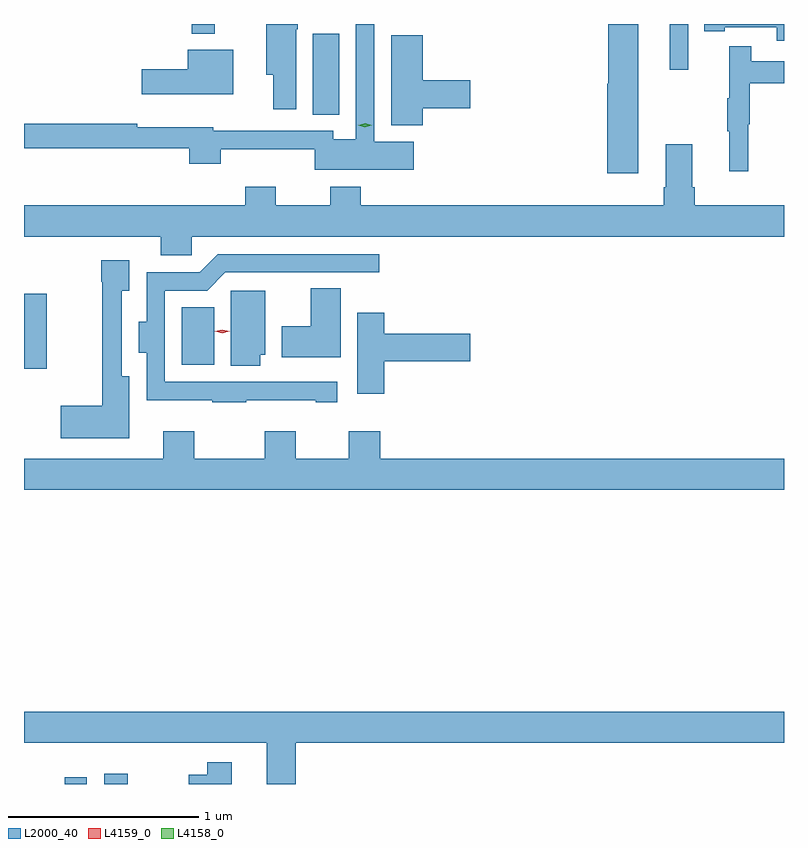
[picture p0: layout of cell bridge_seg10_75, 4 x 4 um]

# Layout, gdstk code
import gdstk
lib = gdstk.Library(unit=1e-6, precision=1e-09)
def R(c, l, rs):  # rectangles x0, y0, x1, y1
    for r in rs: c.add(gdstk.rectangle(r[:2], r[2:], *l))
def P(c, l, *ps):  # polygons
    for p in ps: c.add(gdstk.Polygon(p, *l))
L2000_40 = (2000, 40)
L4158_0 = (4158, 0)
L4159_0 = (4159, 0)

bridge_seg10_75 = lib.new_cell('bridge_seg10_75')
R(bridge_seg10_75, L2000_40, [(681.304,1293.439,681.42,1293.475), (681.512,1293.439,681.634,1293.493), (681.089,1295.625,681.208,1296.019), (681.92,1295.645,682.09,1295.947), (682.61,1296.961,682.747,1297.387), (684.488,1297.197,684.585,1297.439), (681.973,1297.389,682.094,1297.439)])
P(bridge_seg10_75, L2000_40, [(683.14,1296.82),(682.932,1296.82),(682.932,1297.439),(682.836,1297.439),(682.836,1296.832),(682.716,1296.832),(682.716,1296.876),(682.304,1296.876),(682.304,1296.878),(682.086,1296.878),(682.086,1296.895),(681.686,1296.895),(681.686,1296.914),(681.089,1296.914),(681.089,1296.786),(681.959,1296.786),(681.959,1296.704),(682.124,1296.704),(682.124,1296.779),(682.62,1296.779),(682.62,1296.671),(683.14,1296.671)],
  [(684.322,1297.439),(684.164,1297.439),(684.164,1297.125),(684.158,1297.125),(684.158,1296.654),(684.322,1296.654)],
  [(685.089,1297.439),(684.67,1297.439),(684.67,1297.402),(684.778,1297.402),(684.778,1297.422),(685.05,1297.422),(685.05,1297.35),(685.089,1297.35)],
  [(682.522,1297.412),(682.53,1297.412),(682.53,1297.439),(682.364,1297.439),(682.364,1297.172),(682.4,1297.172),(682.4,1296.99),(682.522,1296.99)],
  [(683.188,1296.995),(683.437,1296.995),(683.437,1297.142),(683.188,1297.142),(683.188,1297.379),(683.021,1297.379),(683.021,1296.905),(683.188,1296.905)],
  [(684.902,1296.912),(684.91,1296.912),(684.91,1297.126),(685.089,1297.126),(685.089,1297.242),(684.917,1297.242),(684.917,1297.321),(684.8,1297.321),(684.8,1297.049),(684.789,1297.049),(684.789,1296.875),(684.8,1296.875),(684.8,1296.663),(684.902,1296.663)],
  [(682.189,1297.303),(681.95,1297.303),(681.95,1297.2),(681.708,1297.2),(681.708,1297.07),(682.189,1297.07)],
  [(681.089,1296.32),(681.809,1296.32),(681.809,1296.222),(681.972,1296.222),(681.972,1296.32),(685.089,1296.32),(685.089,1296.484),(684.62,1296.484),(684.62,1296.58),(684.607,1296.58),(684.607,1296.805),(684.467,1296.805),(684.467,1296.58),(684.455,1296.58),(684.455,1296.484),(682.862,1296.484),(682.862,1296.583),(682.702,1296.583),(682.702,1296.484),(682.413,1296.484),(682.413,1296.583),(682.253,1296.583),(682.253,1296.484),(681.089,1296.484)],
  [(682.259,1295.459),(682.625,1295.459),(682.625,1295.448),(682.738,1295.448),(682.738,1295.556),(681.831,1295.556),(681.831,1296.036),(682.053,1296.036),(682.149,1296.132),(682.96,1296.132),(682.96,1296.228),(682.11,1296.228),(682.014,1296.132),(681.734,1296.132),(681.734,1295.872),(681.692,1295.872),(681.692,1295.708),(681.735,1295.708),(681.735,1295.459),(682.081,1295.459),(682.081,1295.448),(682.259,1295.448)],
  [(681.643,1295.584),(681.603,1295.584),(681.603,1296.035),(681.643,1296.035),(681.643,1296.196),(681.495,1296.196),(681.495,1296.083),(681.502,1296.083),(681.502,1295.429),(681.282,1295.429),(681.282,1295.258),(681.643,1295.258)],
  [(682.756,1296.047),(682.598,1296.047),(682.598,1295.848),(682.445,1295.848),(682.445,1295.684),(682.756,1295.684)],
  [(682.333,1295.697),(682.36,1295.697),(682.36,1296.036),(682.178,1296.036),(682.178,1295.641),(682.333,1295.641)],
  [(682.985,1295.663),(683.437,1295.663),(683.437,1295.81),(682.985,1295.81),(682.985,1295.92),(682.844,1295.92),(682.844,1295.493),(682.985,1295.493)],
  [(685.089,1295.152),(682.963,1295.152),(682.963,1295.296),(682.799,1295.296),(682.799,1295.152),(682.519,1295.152),(682.519,1295.296),(682.355,1295.296),(682.355,1295.152),(681.985,1295.152),(681.985,1295.296),(681.821,1295.296),(681.821,1295.152),(681.089,1295.152),(681.089,1294.988),(685.089,1294.988)],
  [(682.52,1293.656),(685.089,1293.656),(685.089,1293.82),(681.089,1293.82),(681.089,1293.656),(682.367,1293.656),(682.367,1293.439),(682.52,1293.439)],
  [(682.183,1293.553),(682.054,1293.553),(682.054,1293.487),(681.956,1293.487),(681.956,1293.439),(682.183,1293.439)])
P(bridge_seg10_75, L4158_0, [(682.883,1296.896),(682.849,1296.907),(682.849,1296.907),(682.849,1296.907),(682.884,1296.916),(682.918,1296.905),(682.918,1296.905),(682.918,1296.905)])
P(bridge_seg10_75, L4159_0, [(682.133,1295.811),(682.093,1295.821),(682.093,1295.821),(682.093,1295.821),(682.133,1295.831),(682.173,1295.822),(682.173,1295.822),(682.173,1295.821)])

lib.write_gds('bridge_seg10_75.gds')
